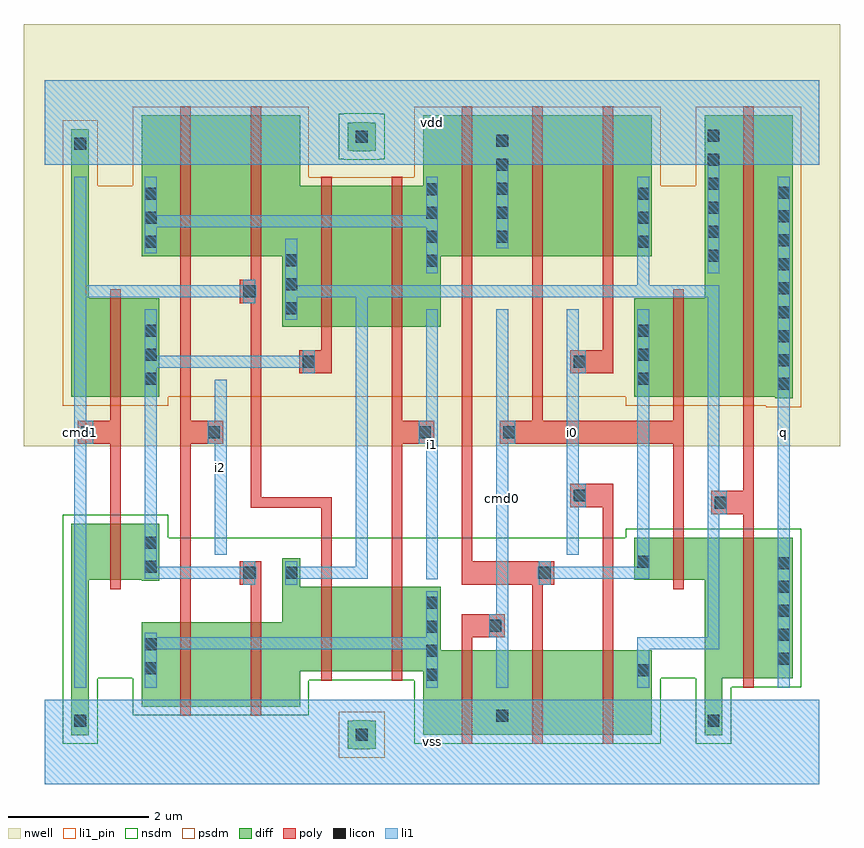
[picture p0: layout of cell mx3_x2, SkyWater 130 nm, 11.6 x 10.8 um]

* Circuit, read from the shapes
.subckt mx3_x2 cmd0 cmd1 i0 i1 i2 q vdd vss
XM1 n1 cmd1 vss VSUBS sky130_fd_pr__nfet_01v8 w=0.8 l=0.15
XM2 n2 i2 n3 VSUBS sky130_fd_pr__nfet_01v8 w=1.2 l=0.15
XM3 n4 n1 n2 VSUBS sky130_fd_pr__nfet_01v8 w=1.2 l=0.15
XM4 n5 cmd1 n4 VSUBS sky130_fd_pr__nfet_01v8 w=1.2 l=0.15
XM5 n3 i1 n5 VSUBS sky130_fd_pr__nfet_01v8 w=1.2 l=0.15
XM6 vss cmd0 n3 VSUBS sky130_fd_pr__nfet_01v8 w=1.2 l=0.15
XM7 n6 n7 vss VSUBS sky130_fd_pr__nfet_01v8 w=1.2 l=0.15
XM8 n4 i0 n6 VSUBS sky130_fd_pr__nfet_01v8 w=1.2 l=0.15
XM9 vss cmd0 n7 VSUBS sky130_fd_pr__nfet_01v8 w=0.6 l=0.15
XM10 q n4 vss VSUBS sky130_fd_pr__nfet_01v8 w=2 l=0.15
XM11 n1 cmd1 vdd n8 sky130_fd_pr__pfet_01v8 w=1.4 l=0.15
XM12 n9 i2 n10 n8 sky130_fd_pr__pfet_01v8 w=2 l=0.15
XM13 n4 cmd1 n9 n8 sky130_fd_pr__pfet_01v8 w=2 l=0.15
XM14 n11 n1 n4 n8 sky130_fd_pr__pfet_01v8 w=2 l=0.15
XM15 n10 i1 n11 n8 sky130_fd_pr__pfet_01v8 w=2 l=0.15
XM16 vdd n7 n10 n8 sky130_fd_pr__pfet_01v8 w=2 l=0.15
XM17 n12 cmd0 vdd n8 sky130_fd_pr__pfet_01v8 w=2 l=0.15
XM18 n4 i0 n12 n8 sky130_fd_pr__pfet_01v8 w=2 l=0.15
XM19 vdd cmd0 n7 n8 sky130_fd_pr__pfet_01v8 w=1.4 l=0.15
XM20 q n4 vdd n8 sky130_fd_pr__pfet_01v8 w=4 l=0.15
.ends

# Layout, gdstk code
import gdstk
lib = gdstk.Library(unit=1e-6, precision=1e-09)
def R(c, l, rs):  # rectangles x0, y0, x1, y1
    for r in rs: c.add(gdstk.rectangle(r[:2], r[2:], *l))
def A(c, l, x, y, w, h, nx, ny, dx, dy):  # array of equal rectangles
    R(c, l, [(x+i*dx, y+j*dy, x+i*dx+w, y+j*dy+h) for i in range(nx) for j in range(ny)])
def P(c, l, *ps):  # polygons
    for p in ps: c.add(gdstk.Polygon(p, *l))
nwell = (64, 20)
diff = (65, 20)
poly = (66, 20)
licon = (66, 44)
li1_pin = (67, 16)
li1 = (67, 20)
nsdm = (93, 44)
psdm = (94, 20)

mx3_x2 = lib.new_cell('mx3_x2')
R(mx3_x2, nwell, [(-0.3,4.8,11.3,10.8)])
P(mx3_x2, diff, [(3.375,6.5),(3.375,7.5),(1.375,7.5),(1.375,9.5),(3.625,9.5),(3.625,8.5),(5.375,8.5),(5.375,9.5),(8.625,9.5),(8.625,7.5),(5.625,7.5),(5.625,6.5)],
  [(5.375,0.7),(5.375,1.6),(3.625,1.6),(3.625,1.1),(1.375,1.1),(1.375,2.3),(3.375,2.3),(3.375,3.205),(3.625,3.205),(3.625,2.8),(5.625,2.8),(5.625,1.9),(8.625,1.9),(8.625,0.7)],
  [(4.375,8.995),(4.375,9),(4.3,9),(4.3,9.4),(4.375,9.4),(4.375,9.405),(4.625,9.405),(4.625,9.4),(4.7,9.4),(4.7,9),(4.625,9),(4.625,8.995)],
  [(0.375,5.5),(0.375,9.305),(0.625,9.305),(0.625,6.9),(1.625,6.9),(1.625,5.5)],
  [(10.375,5.48),(10.375,5.5),(8.375,5.5),(8.375,6.9),(9.375,6.9),(9.375,9.5),(10.625,9.5),(10.625,5.48)],
  [(0.375,0.695),(0.375,3.7),(1.625,3.7),(1.625,2.885),(1.375,2.885),(1.375,2.9),(0.625,2.9),(0.625,0.695)],
  [(9.375,0.695),(9.375,2.9),(8.375,2.9),(8.375,3.5),(10.625,3.5),(10.625,1.5),(9.625,1.5),(9.625,0.695)],
  [(4.375,0.495),(4.375,0.5),(4.3,0.5),(4.3,0.9),(4.375,0.9),(4.375,0.905),(4.625,0.905),(4.625,0.9),(4.7,0.9),(4.7,0.5),(4.625,0.5),(4.625,0.495)])
P(mx3_x2, poly, [(9.925,1.37),(9.925,3.835),(9.465,3.835),(9.465,4.165),(9.925,4.165),(9.925,9.63),(10.075,9.63),(10.075,1.37)],
  [(3.615,5.835),(3.615,6.165),(3.925,6.165),(3.925,8.63),(4.075,8.63),(4.075,5.835)],
  [(2.925,0.97),(2.925,2.835),(2.765,2.835),(2.765,3.165),(3.075,3.165),(3.075,0.97)],
  [(6.925,0.57),(6.925,2.835),(5.925,2.835),(5.925,9.63),(6.075,9.63),(6.075,3.165),(7.235,3.165),(7.235,2.835),(7.075,2.835),(7.075,0.57)],
  [(8.925,2.77),(8.925,4.835),(6.465,4.835),(6.465,5.165),(6.925,5.165),(6.925,9.63),(7.075,9.63),(7.075,5.165),(8.925,5.165),(8.925,7.03),(9.075,7.03),(9.075,2.77)],
  [(5.925,0.57),(5.925,2.415),(6.535,2.415),(6.535,2.085),(6.075,2.085),(6.075,0.57)],
  [(0.925,2.77),(0.925,4.835),(0.465,4.835),(0.465,5.165),(0.925,5.165),(0.925,7.03),(1.075,7.03),(1.075,2.77)],
  [(3.925,1.47),(3.925,3.925),(2.925,3.925),(2.925,6.835),(2.765,6.835),(2.765,7.165),(2.925,7.165),(2.925,9.63),(3.075,9.63),(3.075,4.075),(4.075,4.075),(4.075,1.47)],
  [(7.465,5.835),(7.465,6.165),(7.925,6.165),(7.925,9.63),(8.075,9.63),(8.075,5.835)],
  [(7.925,0.57),(7.925,3.935),(7.465,3.935),(7.465,4.265),(8.075,4.265),(8.075,0.57)],
  [(4.925,1.47),(4.925,8.63),(5.075,8.63),(5.075,5.165),(5.535,5.165),(5.535,4.835),(5.075,4.835),(5.075,1.47)],
  [(1.925,0.97),(1.925,9.63),(2.075,9.63),(2.075,5.165),(2.535,5.165),(2.535,4.835),(2.075,4.835),(2.075,0.97)])
A(mx3_x2, licon, 5.415, 1.47, 0.17, 0.17, 1, 4, 0, 0.34)
A(mx3_x2, licon, 10.415, 1.695, 0.17, 0.17, 1, 5, 0, 0.34)
A(mx3_x2, licon, 10.415, 5.6, 0.17, 0.17, 1, 9, 0, 0.34)
A(mx3_x2, licon, 1.415, 5.675, 0.17, 0.17, 1, 3, 0, 0.34)
A(mx3_x2, licon, 8.415, 5.675, 0.17, 0.17, 1, 3, 0, 0.34)
A(mx3_x2, licon, 3.415, 6.675, 0.17, 0.17, 1, 3, 0, 0.34)
A(mx3_x2, licon, 5.415, 7.35, 0.17, 0.17, 1, 4, 0, 0.34)
A(mx3_x2, licon, 9.415, 7.425, 0.17, 0.17, 1, 6, 0, 0.34)
A(mx3_x2, licon, 1.415, 7.62, 0.17, 0.17, 1, 3, 0, 0.34)
A(mx3_x2, licon, 8.415, 7.62, 0.17, 0.17, 1, 3, 0, 0.34)
A(mx3_x2, licon, 6.415, 7.695, 0.17, 0.17, 1, 5, 0, 0.34)
R(mx3_x2, licon, [(4.415,0.615,4.585,0.785), (0.415,0.815,0.585,0.985), (9.415,0.815,9.585,0.985), (6.415,0.885,6.585,1.055), (8.415,1.53,8.585,1.7), (1.415,1.56,1.585,1.73), (1.415,1.9,1.585,2.07), (6.315,2.165,6.485,2.335), (2.815,2.915,2.985,3.085), (3.415,2.915,3.585,3.085), (7.015,2.915,7.185,3.085), (1.415,3.005,1.585,3.175), (8.415,3.075,8.585,3.245), (1.415,3.345,1.585,3.515), (9.515,3.915,9.685,4.085), (7.515,4.015,7.685,4.185), (0.515,4.915,0.685,5.085), (2.315,4.915,2.485,5.085), (5.315,4.915,5.485,5.085), (6.515,4.915,6.685,5.085), (3.665,5.915,3.835,6.085), (7.515,5.915,7.685,6.085), (2.815,6.915,2.985,7.085), (0.415,9.015,0.585,9.185), (4.415,9.115,4.585,9.285)])
R(mx3_x2, li1_pin, [(0,0,11,1.2), (0.415,1.37,0.585,8.63), (6.415,1.37,6.585,6.745), (10.415,1.37,10.585,8.63), (5.415,2.91,5.585,6.745), (2.415,3.255,2.585,5.745), (7.415,3.255,7.585,6.745), (0,8.8,11,10)])
R(mx3_x2, li1, [(0,0,11,1.2), (10.415,1.37,10.585,8.63)])
P(mx3_x2, li1, [(8.415,1.37),(8.415,2.085),(9.415,2.085),(9.415,6.915),(4.585,6.915),(4.585,2.915),(3.585,2.915),(3.585,2.835),(3.415,2.835),(3.415,3.165),(3.585,3.165),(3.585,3.085),(4.415,3.085),(4.415,6.915),(3.585,6.915),(3.585,6.595),(3.415,6.595),(3.415,7.745),(3.585,7.745),(3.585,7.085),(8.415,7.085),(8.415,8.63),(8.585,8.63),(8.585,7.085),(9.585,7.085),(9.585,4.165),(9.685,4.165),(9.685,3.835),(9.585,3.835),(9.585,1.915),(8.585,1.915),(8.585,1.37)],
  [(9.415,7.255),(9.415,8.8),(6.585,8.8),(6.585,7.615),(6.415,7.615),(6.415,8.8),(0,8.8),(0,10),(11,10),(11,8.8),(9.585,8.8),(9.585,7.255)],
  [(2.815,2.835),(2.815,2.915),(1.415,2.915),(1.415,6.745),(1.585,6.745),(1.585,6.085),(3.665,6.085),(3.665,6.165),(3.835,6.165),(3.835,5.835),(3.665,5.835),(3.665,5.915),(1.585,5.915),(1.585,3.085),(2.815,3.085),(2.815,3.165),(2.985,3.165),(2.985,3.085),(3,3.085),(3,2.915),(2.985,2.915),(2.985,2.835)],
  [(7.015,2.835),(7.015,2.915),(7,2.915),(7,3.085),(7.015,3.085),(7.015,3.165),(7.185,3.165),(7.185,3.085),(8.415,3.085),(8.415,6.745),(8.585,6.745),(8.585,2.915),(7.185,2.915),(7.185,2.835)],
  [(5.415,7.255),(5.415,7.915),(1.585,7.915),(1.585,7.54),(1.415,7.54),(1.415,8.63),(1.585,8.63),(1.585,8.085),(5.415,8.085),(5.415,8.63),(5.585,8.63),(5.585,7.255)],
  [(1.415,1.37),(1.415,2.15),(1.585,2.15),(1.585,2.085),(5.415,2.085),(5.415,2.74),(5.585,2.74),(5.585,1.37),(5.415,1.37),(5.415,1.915),(1.585,1.915),(1.585,1.37)],
  [(6.415,1.37),(6.415,2.085),(6.315,2.085),(6.315,2.415),(6.415,2.415),(6.415,6.745),(6.585,6.745),(6.585,5.165),(6.685,5.165),(6.685,4.835),(6.585,4.835),(6.585,1.37)],
  [(0.415,1.37),(0.415,8.63),(0.585,8.63),(0.585,7.085),(2.815,7.085),(2.815,7.165),(2.985,7.165),(2.985,7.085),(3,7.085),(3,6.915),(2.985,6.915),(2.985,6.835),(2.815,6.835),(2.815,6.915),(0.585,6.915),(0.585,5.165),(0.685,5.165),(0.685,4.835),(0.585,4.835),(0.585,1.37)],
  [(7.415,3.255),(7.415,6.745),(7.585,6.745),(7.585,6.165),(7.685,6.165),(7.685,5.835),(7.585,5.835),(7.585,4.265),(7.685,4.265),(7.685,3.935),(7.585,3.935),(7.585,3.255)],
  [(5.415,2.91),(5.415,4.835),(5.315,4.835),(5.315,5.165),(5.415,5.165),(5.415,6.745),(5.585,6.745),(5.585,2.91)],
  [(2.415,3.255),(2.415,4.835),(2.315,4.835),(2.315,5.165),(2.415,5.165),(2.415,5.745),(2.585,5.745),(2.585,3.255)])
P(mx3_x2, nsdm, [(4.25,8.87),(4.25,8.875),(4.175,8.875),(4.175,9.525),(4.25,9.525),(4.25,9.53),(4.75,9.53),(4.75,9.525),(4.825,9.525),(4.825,8.875),(4.75,8.875),(4.75,8.87)],
  [(0.25,0.57),(0.25,3.825),(1.75,3.825),(1.75,3.5),(8.25,3.5),(8.25,3.625),(10.75,3.625),(10.75,1.375),(9.75,1.375),(9.75,0.57),(9.25,0.57),(9.25,1.5),(8.75,1.5),(8.75,0.575),(5.25,0.575),(5.25,1.475),(3.75,1.475),(3.75,0.975),(1.25,0.975),(1.25,1.5),(0.75,1.5),(0.75,0.57)])
P(mx3_x2, psdm, [(4.25,0.37),(4.25,0.375),(4.175,0.375),(4.175,1.025),(4.25,1.025),(4.25,1.03),(4.75,1.03),(4.75,1.025),(4.825,1.025),(4.825,0.375),(4.75,0.375),(4.75,0.37)],
  [(10.25,5.355),(10.25,5.375),(8.25,5.375),(8.25,5.5),(1.75,5.5),(1.75,5.375),(0.25,5.375),(0.25,9.43),(0.75,9.43),(0.75,8.5),(1.25,8.5),(1.25,9.625),(3.75,9.625),(3.75,8.625),(5.25,8.625),(5.25,9.625),(8.75,9.625),(8.75,8.5),(9.25,8.5),(9.25,9.625),(10.75,9.625),(10.75,5.355)])
mx3_x2.add(gdstk.Label('vdd', (5.5,9.4), layer=67, texttype=16))
mx3_x2.add(gdstk.Label('vss', (5.5,0.6), layer=67, texttype=16))
mx3_x2.add(gdstk.Label('q', (10.5,5), layer=67, texttype=16))
mx3_x2.add(gdstk.Label('cmd0', (6.5,4.058), layer=67, texttype=16))
mx3_x2.add(gdstk.Label('cmd1', (0.5,5), layer=67, texttype=16))
mx3_x2.add(gdstk.Label('i0', (7.5,5), layer=67, texttype=16))
mx3_x2.add(gdstk.Label('i1', (5.5,4.828), layer=67, texttype=16))
mx3_x2.add(gdstk.Label('i2', (2.5,4.5), layer=67, texttype=16))

lib.write_gds('mx3_x2.gds')
